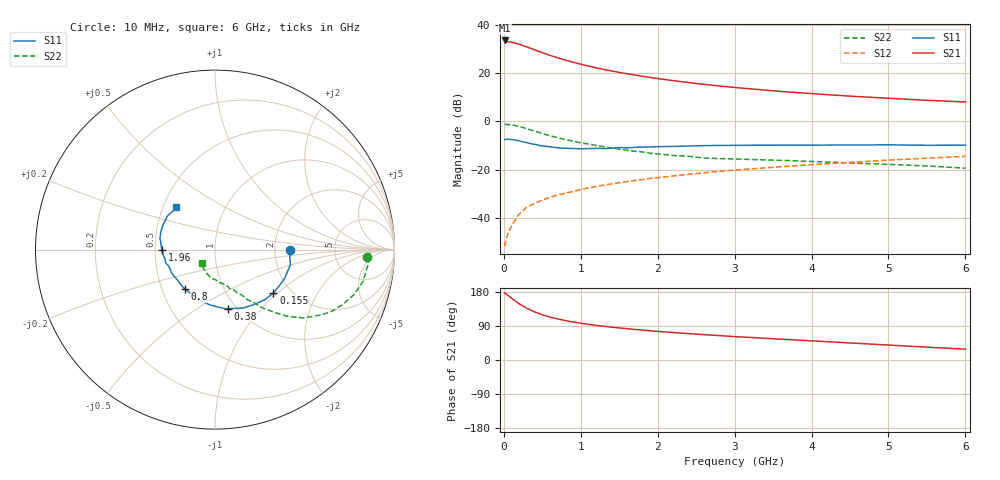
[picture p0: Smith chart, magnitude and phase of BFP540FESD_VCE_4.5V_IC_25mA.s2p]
! Infineon Technologies  Discrete & RF Semiconductors
! BFP540FESD
! VCE =  4.5 V,  IC =  25 mA
! Common Emitter S-Parameters:  Nov 2015
# GHz  S  MA  R  50
!  f  S11  S21  S12  S22
! GHz  MAG  ANG  MAG  ANG  MAG  ANG  MAG  ANG
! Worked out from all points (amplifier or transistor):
!   210 points, 10 MHz to 6 GHz, reference 50 ohm
!   highest |S21| = 33.4 dB at 10 MHz (marker M1)
!   |S21| within 3 dB of that: start of sweep to 326.9 MHz
!   unconditionally stable (mu >= 1): start of sweep to 30.8 MHz; 1.594 GHz to end of sweep
!   at 185 MHz: K = 0.53, MSG = 35.5 dB, |S12| = -39.0 dB
!   at 1.52 GHz: K = 0.99, MSG = 22.7 dB, |S12| = -25.4 dB
!   at 6 GHz: K = 1.17, MAG = 8.8 dB, |S12| = -14.5 dB
!   S11 on the Smith chart (normalised r, x): 10 MHz: 2.44, -0.00; 155 MHz: 1.63, -0.94; 380 MHz: 0.92, -0.68; 800 MHz: 0.66, -0.31; 1.96 GHz: 0.54, -0.00; 6 GHz: 0.58, +0.31
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0.01  0.4179 -0.1  46.85 176.7  0.0026 19.8  0.8495 -2.8
0.02  0.4185 -5.3  45.23 175.6  0.003 39.0  0.8621 -1.4
0.05  0.4286 -11.1  44.6 170.9  0.0045 48.0  0.8571 -5.5
0.1  0.4199 -22.7  43.13 162.8  0.0068 60.8  0.8442 -12.0
0.155  0.405 -36.5  41.22 154.7  0.0094 64.5  0.8114 -18.2
0.2  0.3944 -45.0  39.11 148.2  0.0121 64.8  0.7775 -22.9
0.26  0.371 -57.0  36.26 141.0  0.0146 64.7  0.7315 -28.2
0.3  0.3605 -64.9  34.45 136.3  0.0169 63.6  0.6994 -31.2
0.38  0.3361 -77.6  30.81 128.9  0.0193 63.3  0.6378 -36.2
0.5  0.3095 -95.2  26.25 119.3  0.0234 63.0  0.5542 -42.3
0.6  0.2957 -107.0  23 113.2  0.0268 62.4  0.4992 -45.5
0.8  0.2768 -126.8  18.33 103.8  0.0324 62.6  0.4162 -51.0
1.02  0.2693 -141.9  14.81 96.3  0.0393 63.8  0.3538 -54.8
1.2  0.2747 -152.7  12.69 91.3  0.0446 63.2  0.3153 -58.1
1.46  0.2814 -163.7  10.52 85.3  0.0522 63.2  0.2709 -62.8
1.96  0.2957 -179.6  7.792 76.1  0.0668 61.5  0.2133 -72.3
2.02  0.2981 178.6  7.551 75.1  0.0683 61.2  0.2091 -73.9
2.6  0.3136 168.2  5.788 66.9  0.0856 58.6  0.173 -86.1
3.1  0.3175 161.1  4.83 60.7  0.1001 56.1  0.1636 -93.4
4.1  0.3213 152.6  3.626 49.5  0.1292 50.3  0.1453 -105.7
5.1  0.3232 143.8  2.927 38.4  0.1599 43.0  0.1265 -117.4
6  0.3199 132.6  2.499 28.5  0.1876 35.9  0.1067 -134.3
